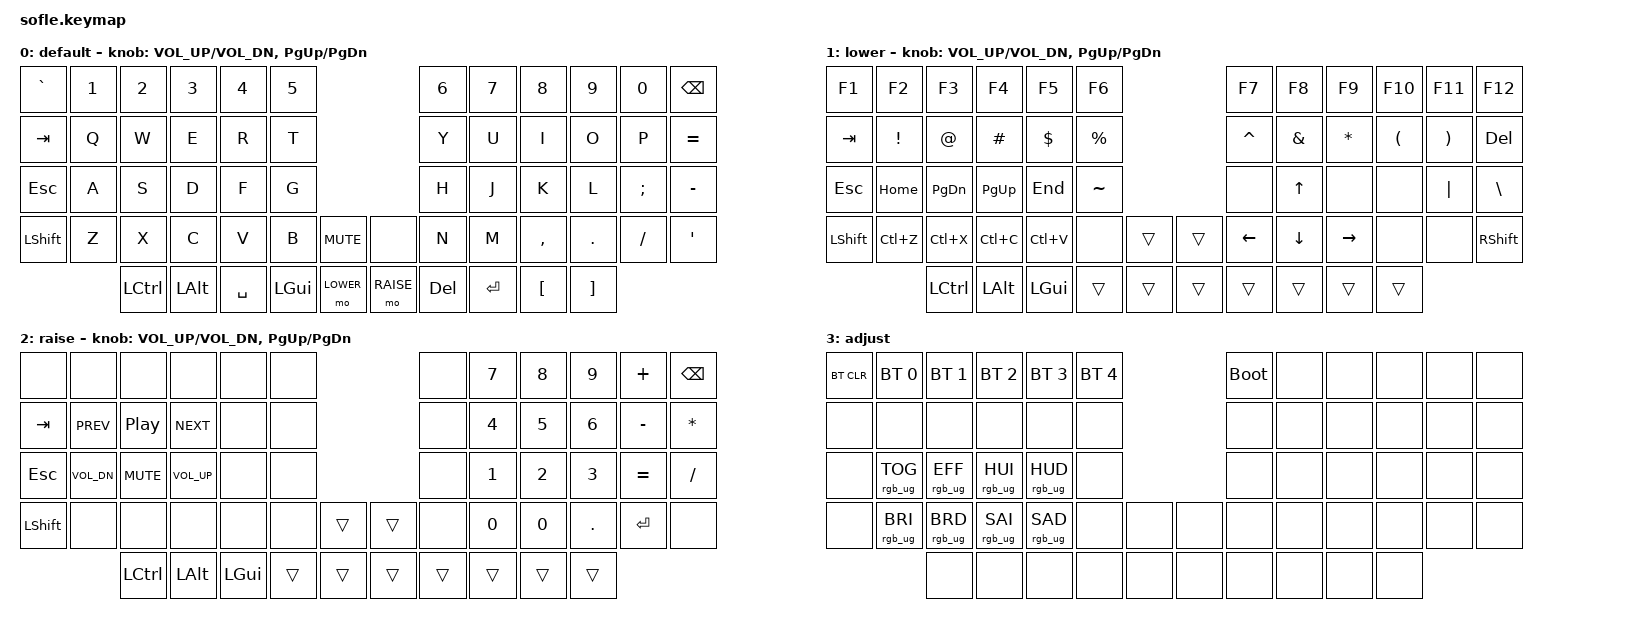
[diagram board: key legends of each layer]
/*
 * Copyright (c) 2020 The ZMK Contributors
 *
 * SPDX-License-Identifier: MIT
 */

#include <behaviors.dtsi>
#include <dt-bindings/zmk/keys.h>
#include <dt-bindings/zmk/bt.h>
#include <dt-bindings/zmk/rgb.h>
#include <dt-bindings/zmk/ext_power.h>

#define BASE 0
#define LOWER 1
#define RAISE 2
#define ADJUST 3

/ {

    // Activate ADJUST layer by pressing raise and lower
    conditional_layers {
        compatible = "zmk,conditional-layers";
        adjust_layer {
            if-layers = <LOWER RAISE>;
            then-layer = <ADJUST>;
        };
    };

    keymap {
        compatible = "zmk,keymap";

        default_layer {
            display-name = "default";
// ---------------------------------------------------------------------------------------------------------------------------------
// |  `~   |  1!  |  2@  |  3#  |  4$  |  5%  |                      |  6^  |  7&  |  8*  |  9(  |  0)  |  DEL  |
// | TAB   |  Q   |  W   |  E   |  R   |  T   |                      |  Y   |  U   |  I   |  O   |  P   |  =+   |
// | ESC   |  A   |  S   |  D   |  F   |  G   |                      |  H   |  J   |  K   |  L   |  ;:  |  -_   |
// | SHIFT |  Z   |  X   |  C   |  V   |  B   | MUTE  |      |       |  N   |  M   |  ,<  |  .>  |  /?  |  '"   |
//                | CTRL | ALT  | GUI  | SPACE| LOWER |      | RAISE | ENTER| BKSP |  [{  |  ]}  |
            bindings = <
&kp GRAVE  &kp N1    &kp N2   &kp N3   &kp N4    &kp N5                          &kp N6    &kp N7   &kp N8    &kp N9   &kp N0    &kp BSPC
&kp TAB    &kp Q     &kp W    &kp E    &kp R     &kp T                           &kp Y     &kp U    &kp I     &kp O    &kp P     &kp EQUAL
&kp ESC    &kp A     &kp S    &kp D    &kp F     &kp G                           &kp H     &kp J    &kp K     &kp L    &kp SEMI  &kp MINUS
&kp LSHFT  &kp Z     &kp X    &kp C    &kp V     &kp B     &kp C_MUTE  &none    &kp N     &kp M    &kp COMMA &kp DOT  &kp FSLH  &kp SQT
                     &kp LCTRL &kp LALT &kp SPACE &kp LGUI  &mo LOWER   &mo RAISE &kp DEL  &kp RET &kp LBKT  &kp RBKT
            >;

            sensor-bindings = <&inc_dec_kp C_VOL_UP C_VOL_DN &inc_dec_kp PG_UP PG_DN>;
        };

        lower_layer {
            display-name = "lower";
// ---------------------------------------------------------------------------------------------------------------------------------
// |  F1  |  F2  |  F3  |  F4  |  F5  |  F6  |                      |  F7  |  F8  |  F9  | F10  | F11  |  F12  |
// | TAB  |  !   |  @   |  #   |  $   |  %   |                      |  ^   |  &   |  *   |  (   |  )   |  DEL  |
// | ESC  | HOME | PGDN | PGUP | END  |  ~   |                      |      |  UP  |      |      |  |   |   \   |
// | SHIFT| UNDO | CUT  | COPY | PASTE|      |       |      |       | LEFT | DOWN | RIGHT|      |      | SHIFT |
//               | CTRL | ALT  | GUI  |      |       |      |       |      |      |      |      |
            bindings = <
&kp F1    &kp F2    &kp F3    &kp F4    &kp F5     &kp F6                          &kp F7    &kp F8    &kp F9    &kp F10   &kp F11   &kp F12
&kp TAB   &kp EXCL  &kp AT    &kp HASH  &kp DLLR   &kp PRCNT                      &kp CARET &kp AMPS  &kp ASTRK &kp LPAR  &kp RPAR  &kp DEL
&kp ESC   &kp HOME  &kp PG_DN &kp PG_UP &kp END    &kp TILDE                      &none     &kp UP    &none     &none     &kp PIPE  &kp BSLH
&kp LSHFT &kp LC(Z) &kp LC(X) &kp LC(C) &kp LC(V)  &none     &trans      &trans   &kp LEFT  &kp DOWN  &kp RIGHT &none     &none     &kp RSHFT
                    &kp LCTRL &kp LALT  &kp LGUI   &trans    &trans      &trans   &trans    &trans    &trans    &trans
            >;

            sensor-bindings = <&inc_dec_kp C_VOL_UP C_VOL_DN &inc_dec_kp PG_UP PG_DN>;
        };

        raise_layer {
            display-name = "raise";
// ---------------------------------------------------------------------------------------------------------------------------------
// |      |      |      |      |      |      |                      |      |  7   |  8   |  9   |  +   | BKSPC |
// | TAB  | PREV | PLAY | NEXT |      |      |                      |      |  4   |  5   |  6   |  -   |   *   |
// | ESC  | VOL- | MUTE | VOL+ |      |      |                      |      |  1   |  2   |  3   |  =   |   /   |
// | SHIFT|      |      |      |      |      |       |      |       |      |  0   |  0   |  .   | ENTER|       |
//               | CTRL | ALT  | GUI  |      |       |      |       |      |      |      |      |
            bindings = <
&none     &none        &none      &none        &none  &none                          &none  &kp N7  &kp N8  &kp N9  &kp PLUS   &kp BSPC
&kp TAB   &kp C_PREV   &kp C_PP   &kp C_NEXT   &none  &none                          &none  &kp N4  &kp N5  &kp N6  &kp MINUS  &kp ASTRK
&kp ESC   &kp C_VOL_DN &kp C_MUTE &kp C_VOL_UP &none  &none                          &none  &kp N1  &kp N2  &kp N3  &kp EQUAL  &kp FSLH
&kp LSHFT &none        &none      &none        &none  &none  &trans       &trans      &none  &kp N0  &kp N0  &kp DOT &kp RET    &none
                       &kp LCTRL  &kp LALT     &kp LGUI &trans &trans     &trans      &trans &trans  &trans  &trans
            >;

            sensor-bindings = <&inc_dec_kp C_VOL_UP C_VOL_DN &inc_dec_kp PG_UP PG_DN>;
        };

        adjust_layer {
            display-name = "adjust";
// ---------------------------------------------------------------------------------------------------------------------------------
// | BTCLR| BT1  | BT2  | BT3  | BT4  | BT5  |                      | BOOT |      |      |      |      |       |
// |      |      |      |      |      |      |                      |      |      |      |      |      |       |
// |      | RGB+ | RGB- | HUE+ | HUE- |      |                      |      |      |      |      |      |       |
// |      | BRI+ | BRI- | SAT+ | SAT- |      |       |      |       |      |      |      |      |      |       |
//               |      |      |      |      |       |      |       |      |      |      |      |
            bindings = <
&bt BT_CLR        &bt BT_SEL 0     &bt BT_SEL 1     &bt BT_SEL 2     &bt BT_SEL 3     &bt BT_SEL 4                    &bootloader &none &none &none &none &none
&none             &none            &none            &none            &none            &none                             &none &none &none &none &none &none
&none             &rgb_ug RGB_TOG  &rgb_ug RGB_EFF  &rgb_ug RGB_HUI  &rgb_ug RGB_HUD  &none                             &none &none &none &none &none &none
&none             &rgb_ug RGB_BRI  &rgb_ug RGB_BRD  &rgb_ug RGB_SAI  &rgb_ug RGB_SAD  &none    &none          &none      &none &none &none &none &none &none
                                   &none            &none            &none            &none    &none          &none      &none &none &none &none
            >;
        };
    };
};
